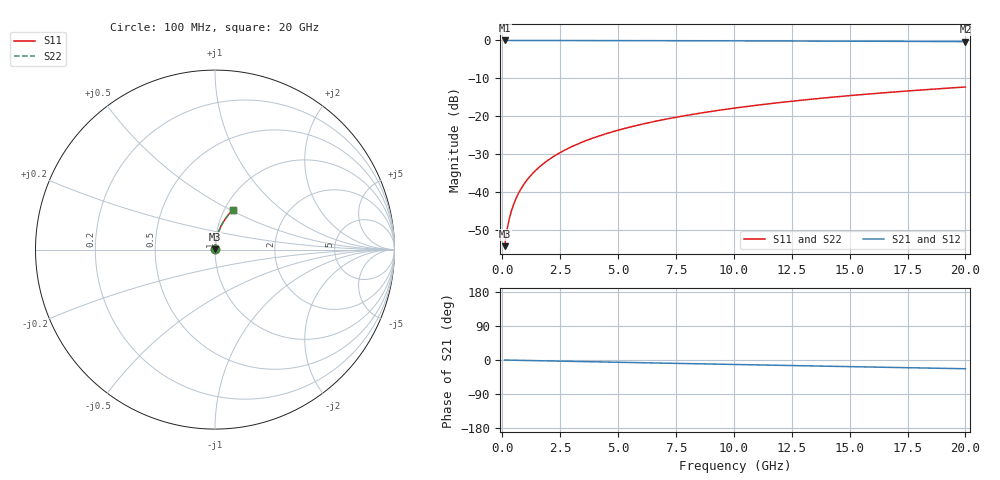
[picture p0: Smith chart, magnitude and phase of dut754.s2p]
! Touchstone file exported from HFSS 2026.1.0
!  File:  C:/ffzhzh/LocalFiles/Ansys_Project_Files/temp_train_TMRDL_754_1783155319_51560.aedt
!  Generated:  04:56:30 PM Jul  4, 2026
!  Design:  TMRDL
!  Project:  temp_train_TMRDL_754_1783155319_51560
! Variables:
!  h_bsmrdl = 2um
!  h_ox = 20um
!  h_rdl = 5um
!  h_sub = 80um
!  h_tmrdl = 4.24um
!  h_tsv = 80um
!  h_via = 3um
!  l_bsmrdl = 300um
!  l_sub = 689.69um
!  l_tmrdl = 289.69um
!  m_sub = 200um
!  pitch = 52.62um
!  r_tsv = 6um
!  s_tmrdl = 10um
!  w_bsmrdl = 18um
!  w_sub = 500um
!  w_tmrdl = 21.4um
!  x_tsv_center1 = 300.39um
!  x_tsv_center2 = 618.39um
!  x_tsv_center3 = 929.48um
!  x_tsv_center4 = 1247.48um
!  x_tsv_center5 = 1558.57um
!  x_tsv_center6 = 1876.57um
# GHz S MA R 50.000000
! Terminal data exported
! Port[1] = TM_RDL1_1_T1
! Port[2] = TM_RDL1_1_T2
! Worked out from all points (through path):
!   200 points, 100 MHz to 20 GHz, reference 50 ohm
!   highest |S21| = -0.01 dB at 100 MHz (marker M1); lowest = -0.3 dB at 20 GHz (marker M2)
!   group delay of S21, straight-line fit = 3.2 ps
!   lowest |S11| = -54.3 dB at 100 MHz (marker M3), VSWR 1.00, Z = 50.1 + j0.142 ohm
!   |S11| at or under -10 dB: start of sweep to end of sweep
!   |S22| runs from -54.3 to -12.3 dB; largest |S21 - S12| = 3.6e-15
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0.1  0.001929 47.2  0.9987 -0.1  0.9987 -0.1  0.001929 47.2
! Gamma 0 0 0 0
! Port Impedance 50 0 50 0
0.2  0.003126 63.9  0.9986 -0.2  0.9986 -0.2  0.003126 63.9
0.3  0.004412 70.8  0.9986 -0.4  0.9986 -0.4  0.004412 70.8
0.4  0.005709 74.4  0.9985 -0.5  0.9985 -0.5  0.005709 74.4
0.5  0.007006 76.7  0.9985 -0.6  0.9985 -0.6  0.007005 76.7
0.7  0.009602 79.5  0.9984 -0.9  0.9984 -0.9  0.009601 79.5
0.8  0.0109 80.4  0.9984 -1.0  0.9984 -1.0  0.0109 80.4
1  0.01351 81.6  0.9983 -1.2  0.9983 -1.2  0.01351 81.6
1.2  0.01613 82.4  0.9982 -1.5  0.9982 -1.5  0.01613 82.4
1.4  0.01874 82.9  0.9981 -1.7  0.9981 -1.7  0.01874 82.9
1.7  0.02267 83.3  0.998 -2.1  0.998 -2.1  0.02267 83.3
2  0.0266 83.5  0.9978 -2.4  0.9978 -2.4  0.0266 83.5
2.7  0.03575 83.4  0.9973 -3.3  0.9973 -3.3  0.03575 83.4
3.5  0.04613 82.9  0.9966 -4.2  0.9966 -4.2  0.04613 82.9
4.2  0.05516 82.3  0.9959 -5.0  0.9959 -5.0  0.05516 82.3
5  0.06539 81.5  0.9951 -6.0  0.9951 -6.0  0.06539 81.5
6.8  0.08812 79.7  0.9927 -8.1  0.9927 -8.1  0.08812 79.7
8.3  0.1068 78.1  0.9904 -9.8  0.9904 -9.8  0.1068 78.1
10.1  0.1288 76.2  0.9874 -11.9  0.9874 -11.9  0.1288 76.2
13.4  0.1682 72.6  0.9808 -15.7  0.9808 -15.7  0.1682 72.6
16.7  0.2063 69.0  0.973 -19.4  0.973 -19.4  0.2063 69.0
20  0.2428 65.5  0.9642 -23.1  0.9642 -23.1  0.2428 65.5
